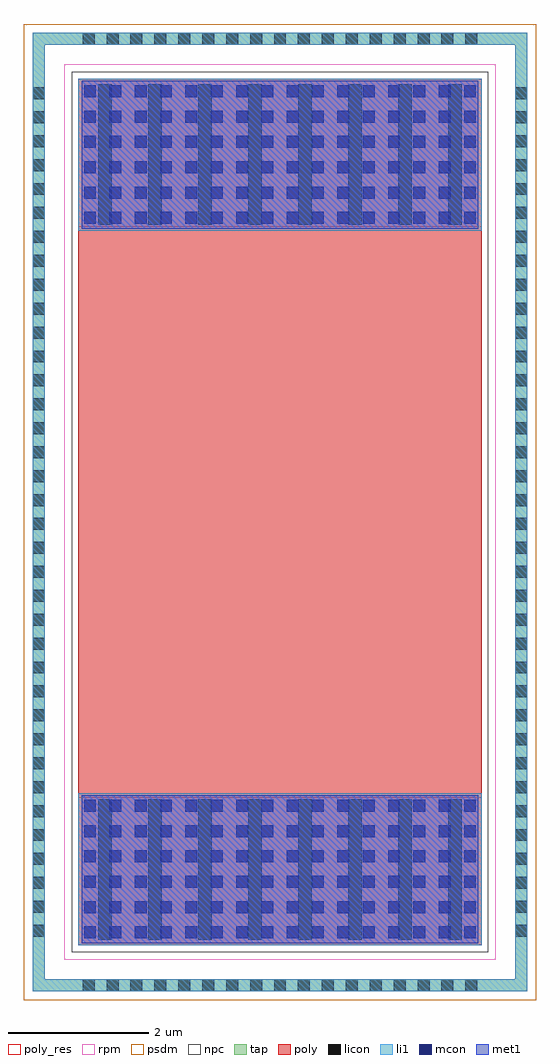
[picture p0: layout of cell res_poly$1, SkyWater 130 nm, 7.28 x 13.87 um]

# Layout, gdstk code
import gdstk
lib = gdstk.Library(unit=1e-6, precision=5e-09)
def R(c, l, rs):  # rectangles x0, y0, x1, y1
    for r in rs: c.add(gdstk.rectangle(r[:2], r[2:], *l))
def A(c, l, x, y, w, h, nx, ny, dx, dy):  # array of equal rectangles
    R(c, l, [(x+i*dx, y+j*dy, x+i*dx+w, y+j*dy+h) for i in range(nx) for j in range(ny)])
tap = (65, 44)
poly_res = (66, 13)
poly = (66, 20)
licon = (66, 44)
li1 = (67, 20)
mcon = (67, 44)
met1 = (68, 20)
rpm = (86, 20)
psdm = (94, 20)
npc = (95, 20)

res_poly_1 = lib.new_cell('res_poly$1')
R(res_poly_1, tap, [(-3.515,-6.81,3.515,-6.64), (-3.515,-6.64,-3.345,6.64), (3.345,-6.64,3.515,6.64), (-3.515,6.64,3.515,6.81)])
R(res_poly_1, poly_res, [(-2.865,-4.06,2.865,4.06)])
R(res_poly_1, poly, [(-2.865,-6.16,2.865,6.16)])
A(res_poly_1, licon, -2.805, -6.81, 0.17, 0.17, 17, 2, 0.34, 13.45)
A(res_poly_1, licon, -2.58, -6.08, 0.19, 2, 8, 2, 0.71, 10.16)
A(res_poly_1, licon, -3.515, -6.035, 0.17, 0.17, 1, 36, 0, 0.34)
A(res_poly_1, licon, 3.345, -6.035, 0.17, 0.17, 1, 36, 0, 0.34)
R(res_poly_1, li1, [(-3.515,-6.81,3.515,-6.64), (-3.515,-6.64,-3.345,6.64), (3.345,-6.64,3.515,6.64), (-2.865,-6.16,2.865,-4), (-2.865,4,2.865,6.16), (-3.515,6.64,3.515,6.81)])
A(res_poly_1, mcon, -2.785, -6.06, 0.17, 0.17, 16, 6, 0.36, 0.36)
A(res_poly_1, mcon, -2.785, 4.095, 0.17, 0.17, 16, 6, 0.36, 0.36)
R(res_poly_1, met1, [(-2.815,-6.13,2.815,-4.025), (-2.815,4.025,2.815,6.13)])
R(res_poly_1, rpm, [(-3.065,-6.36,3.065,6.36)])
R(res_poly_1, psdm, [(-3.64,-6.935,3.64,6.935)])
R(res_poly_1, npc, [(-2.96,-6.255,2.96,6.255)])

lib.write_gds('res_poly_1.gds')
